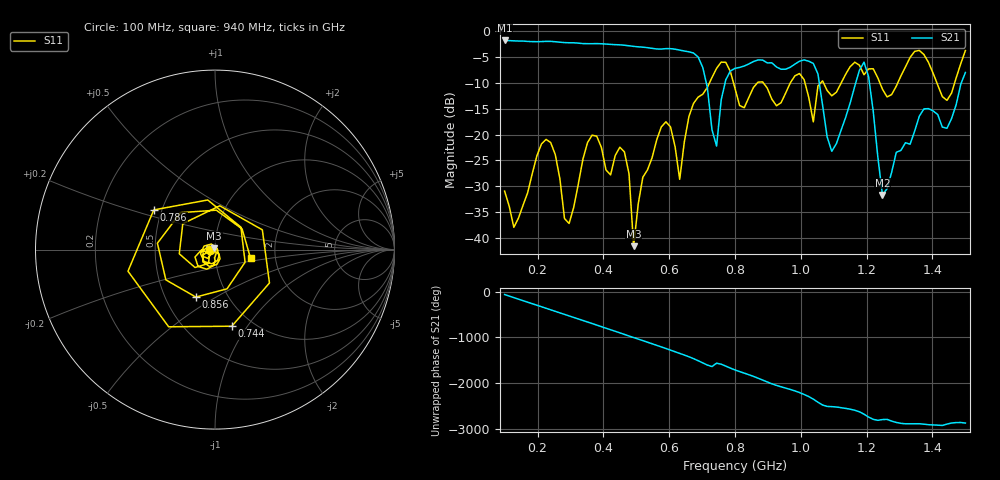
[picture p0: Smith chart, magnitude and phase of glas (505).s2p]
! NanoVNA-App
! Date: 2025-09-25 15:59:24
! Start: 100MHz Stop: 1,5GHz Points: 101
! S-Parameter data: F S11 S21 S12 S22
# Hz S RI R 50
!  Frequency  S11_Real  S11_Imag  S21_Real  S21_Imag  S12_Real  S12_Imag  S22_Real  S22_Imag
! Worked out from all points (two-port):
!   101 points, 100 MHz to 1.5 GHz, reference 50 ohm
!   highest |S21| = -1.80 dB at 100 MHz (marker M1); lowest = -31.7 dB at 1.248 GHz (marker M2)
!   |S21| within 3 dB of the highest: start of sweep to 684.3 MHz
!   lowest |S11| = -41.6 dB at 492 MHz (marker M3), VSWR 1.02, Z = 49.5 + j0.654 ohm
!   |S11| at or under -10 dB: start of sweep to 722.4 MHz; 795.4 MHz to 868 MHz (72.67 MHz wide, 8.74 % of centre); 886.1 MHz to 968 MHz (81.86 MHz wide, 8.83 % of centre) (the widest 3 of 7)
!   S12 and S22 are empty: the file has one direction only
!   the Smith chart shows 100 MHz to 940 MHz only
!   S11 on the Smith chart (normalised r, x): 100 MHz: 0.95, -0.01; 744 MHz: 0.81, -0.85; 786 MHz: 0.45, +0.24; 856 MHz: 0.71, -0.41; 940 MHz: 1.48, -0.15
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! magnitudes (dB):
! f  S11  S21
! 100 MHz  -30.9  -1.8
! 128 MHz  -37.9  -1.9
! 226 MHz  -20.9  -2.0
! 296 MHz  -37.2  -2.2
! 338 MHz  -24.7  -2.4
! 464 MHz  -23.3  -2.7
! 492 MHz  -41.6  -2.9
! 576 MHz  -18.5  -3.5
! 632 MHz  -28.7  -3.7
! 702 MHz  -12.2  -7.0
! 744 MHz  -7.2  -22.2
! 786 MHz  -7.8  -7.7
! 800 MHz  -11.1  -7.2
! 856 MHz  -10.9  -5.9
! 940 MHz  -13.8  -7.4
! 996 MHz  -8.2  -5.8
! 1.038 GHz  -17.5  -6.2
! 1.094 GHz  -12.5  -23.2
! 1.192 GHz  -8.4  -6.0
! 1.248 GHz  -11.2  -31.7
! 1.276 GHz  -12.3  -27.3
! 1.5 GHz  -3.8  -8.0
